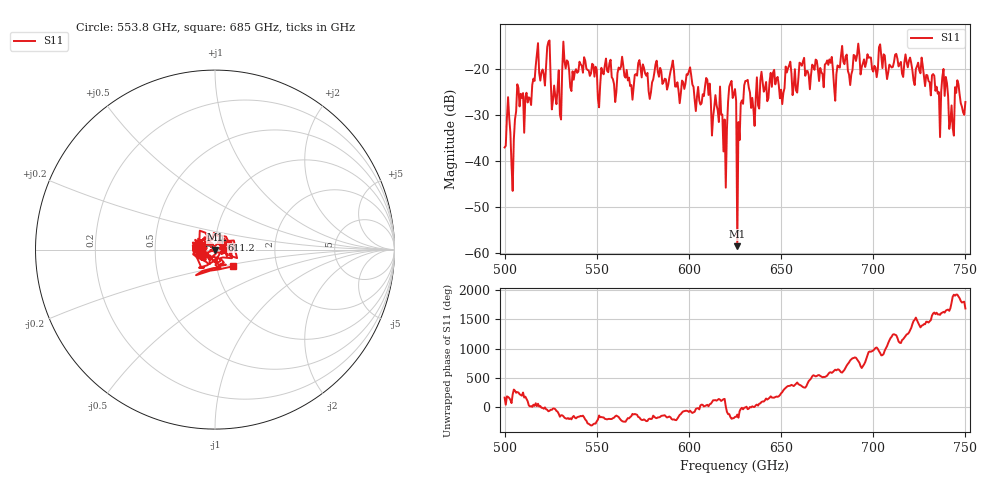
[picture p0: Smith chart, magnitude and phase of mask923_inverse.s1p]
!Created with skrf (http://scikit-rf.org).
# GHz S MA R 50.0
!freq magS11 angS11
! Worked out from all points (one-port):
!   401 points, 500 GHz to 750 GHz, reference 50 ohm
!   lowest |S11| = -58.6 dB at 626.2 GHz (marker M1), VSWR 1.00, Z = 49.9 - j0.101 ohm
!   |S11| at or under -10 dB: start of sweep to end of sweep
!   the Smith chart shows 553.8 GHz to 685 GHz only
!   S11 on the Smith chart (normalised r, x): 553.8 GHz: 0.84, -0.03; 611.2 GHz: 1.08, +0.12; 685 GHz: 1.20, -0.23
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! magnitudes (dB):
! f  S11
! 500 GHz  -37.1
! 501.9 GHz  -26.2
! 504.4 GHz  -46.5
! 507.5 GHz  -24.1
! 511.9 GHz  -25.2
! 516.9 GHz  -19.4
! 523.8 GHz  -14.1
! 526.9 GHz  -23.6
! 531.2 GHz  -20.3
! 553.8 GHz  -21.2
! 562.5 GHz  -20.1
! 593.8 GHz  -22.9
! 611.2 GHz  -23.2
! 619.4 GHz  -31.0
! 623.8 GHz  -26.3
! 625 GHz  -24.4
! 626.2 GHz  -58.6
! 631.2 GHz  -22.6
! 635 GHz  -28.8
! 656.2 GHz  -25.7
! 685 GHz  -17.3
! 687.5 GHz  -23.5
! 718.8 GHz  -19.7
! 735 GHz  -25.4
! 738.8 GHz  -25.9
! 742.5 GHz  -28.0
! 745.6 GHz  -22.5
! 750 GHz  -27.2
